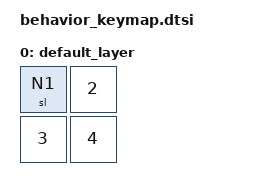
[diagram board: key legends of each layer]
#include <dt-bindings/zmk/keys.h>
#include <behaviors.dtsi>
#include <dt-bindings/zmk/kscan_mock.h>

/ {
	rocknroll {
		compatible = "zmk,rocknroll";
		key-positions = <0 1 2 3>;

        default_layer {
            bindings = <
                /* Roll-fwd  Roll-back  Rock-fwd  Rock-back */
                /* 0-x */ &kp A &none &none &none
                /* 1-x */ &kp B &none &none &none
                /* 1-0 */ &kp C &kp D &kp E &kp F
                /* 2-x */ &kp G &none &none &none
                /* 2-0 */ &kp H &kp I &kp J &kp K
                /* 2-1 */ &kp L &kp M &kp N &kp O
                /* 3-x */ &kp P &none &none &none
                /* 3-0 */ &kp Q &kp R &kp S &kp T
                /* 3-1 */ &kp U &kp V &kp W &kp X
                /* 3-2 */ &kp Y &kp Z &kp SPACE &kp ENTER
            >;
        };
	};

	keymap {
		compatible = "zmk,keymap";

		default_layer {
			bindings = <
				&sl N1 &kp N2
                &kp N3 &kp N4
			>;
		};
	};
};
